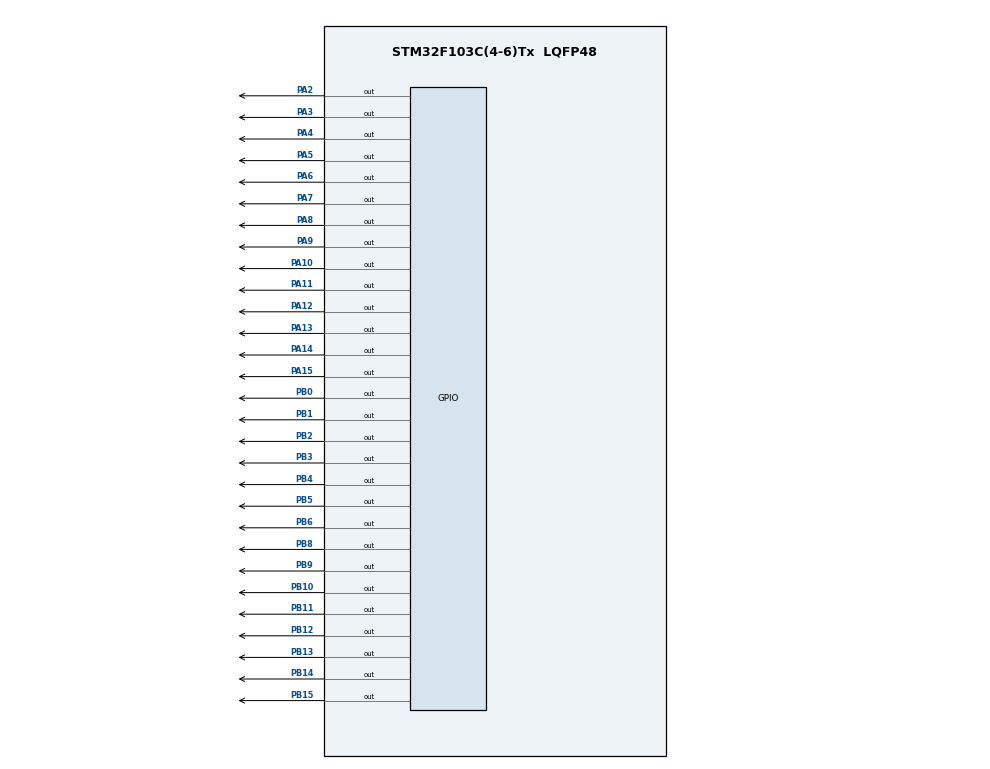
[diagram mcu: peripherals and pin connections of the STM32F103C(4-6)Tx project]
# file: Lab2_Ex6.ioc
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Mcu.Family=STM32F1
Mcu.Name=STM32F103C(4-6)Tx
Mcu.Package=LQFP48
NVIC.PriorityGroup=NVIC_PRIORITYGROUP_4
NVIC.TIM2_IRQn=true\:0\:0\:false\:false\:true\:true\:true
PA10.Signal=GPIO_Output
PA11.Signal=GPIO_Output
PA12.Signal=GPIO_Output
PA13.Signal=GPIO_Output
PA14.Signal=GPIO_Output
PA15.Signal=GPIO_Output
PA2.Signal=GPIO_Output
PA3.Signal=GPIO_Output
PA4.Signal=GPIO_Output
PA5.Signal=GPIO_Output
PA6.Signal=GPIO_Output
PA7.Signal=GPIO_Output
PA8.Signal=GPIO_Output
PA9.Signal=GPIO_Output
PB0.Signal=GPIO_Output
PB1.Signal=GPIO_Output
PB10.Signal=GPIO_Output
PB11.Signal=GPIO_Output
PB12.Signal=GPIO_Output
PB13.Signal=GPIO_Output
PB14.Signal=GPIO_Output
PB15.Signal=GPIO_Output
PB2.Signal=GPIO_Output
PB3.Signal=GPIO_Output
PB4.Signal=GPIO_Output
PB5.Signal=GPIO_Output
PB6.Signal=GPIO_Output
PB8.Signal=GPIO_Output
PB9.Signal=GPIO_Output
PD0-OSC_IN.Mode=HSE-External-Oscillator
PD0-OSC_IN.Signal=RCC_OSC_IN
PD1-OSC_OUT.Mode=HSE-External-Oscillator
PD1-OSC_OUT.Signal=RCC_OSC_OUT
ProjectManager.HeapSize=0x200
ProjectManager.StackSize=0x400
ProjectManager.TargetToolchain=STM32CubeIDE
RCC.APB1Freq_Value=8000000
RCC.APB2Freq_Value=8000000
TIM2.Period=9
TIM2.Prescaler=7999
VP_SYS_VS_ND.Mode=No_Debug
VP_TIM2_VS_ClockSourceINT.Mode=Internal
board=custom

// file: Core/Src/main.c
/* USER CODE BEGIN Header */
/**
  ******************************************************************************
  * @file           : main.c
  * @brief          : Main program body
  ******************************************************************************
  * @attention
  *
  * <h2><center>&copy; Copyright (c) 2021 STMicroelectronics.
  * All rights reserved.</center></h2>
  *
  * This software component is licensed by ST under BSD 3-Clause license,
  * the "License"; You may not use this file except in compliance with the
  * License. You may obtain a copy of the License at:
  *                        opensource.org/licenses/BSD-3-Clause
  *
  ******************************************************************************
  */
/* USER CODE END Header */
#include "main.h"

TIM_HandleTypeDef htim2;

void SystemClock_Config(void);
static void MX_GPIO_Init(void);
static void MX_TIM2_Init(void);
void update7SEG(int index);
void updateClockBuffer();

/* USER CODE BEGIN 0 */
uint8_t segmentNumber[10] = {
		0x40,  // 0
		0x79,  // 1
		0x24,  // 2
		0x30,  // 3
		0x19,  // 4
		0x12,  // 5
		0x02,  // 6
		0x78,  // 7
		0x00,  // 8
		0x10   // 9
};

void display7SEG(uint8_t number){
	HAL_GPIO_WritePin(GPIOB, GPIO_PIN_0, ((number>>0)&0x01));
	HAL_GPIO_WritePin(GPIOB, GPIO_PIN_1, ((number>>1)&0x01));
	HAL_GPIO_WritePin(GPIOB, GPIO_PIN_2, ((number>>2)&0x01));
	HAL_GPIO_WritePin(GPIOB, GPIO_PIN_3, ((number>>3)&0x01));
	HAL_GPIO_WritePin(GPIOB, GPIO_PIN_4, ((number>>4)&0x01));
	HAL_GPIO_WritePin(GPIOB, GPIO_PIN_5, ((number>>5)&0x01));
	HAL_GPIO_WritePin(GPIOB, GPIO_PIN_6, ((number>>6)&0x01));
}

// uint8_t number to display A character
uint8_t matrixLedCol[8] = {
		0xE7,0xC3,0x99,0x99,0x81,0x81,0x99,0x99
};
// storage uint8_t number
uint8_t matrix_led_buffer[8] = {
		0xE7,0xC3,0x99,0x99,0x81,0x81,0x99,0x99
};
void displayMatrixLed(uint8_t numberCol) {
	//display col from row selected
	HAL_GPIO_WritePin(GPIOA, GPIO_PIN_2, !(numberCol&0x80));
	numberCol = numberCol << 1;
	HAL_GPIO_WritePin(GPIOA, GPIO_PIN_3, !(numberCol&0x80));
	numberCol = numberCol << 1;
	HAL_GPIO_WritePin(GPIOA, GPIO_PIN_10, !(numberCol&0x80));
	numberCol = numberCol << 1;
	HAL_GPIO_WritePin(GPIOA, GPIO_PIN_11, !(numberCol&0x80));
	numberCol = numberCol << 1;
	HAL_GPIO_WritePin(GPIOA, GPIO_PIN_12, !(numberCol&0x80));
	numberCol = numberCol << 1;
	HAL_GPIO_WritePin(GPIOA, GPIO_PIN_13, !(numberCol&0x80));
	numberCol = numberCol << 1;
	HAL_GPIO_WritePin(GPIOA, GPIO_PIN_14, !(numberCol&0x80));
	numberCol = numberCol << 1;
	HAL_GPIO_WritePin(GPIOA, GPIO_PIN_15, !(numberCol&0x80));
}
void updateLEDMatrix (int index) {
	switch ( index ) {
		case 0:
			displayMatrixLed(matrixLedCol[0]);
			HAL_GPIO_WritePin(GPIOB, GPIO_PIN_8, 0);
			HAL_GPIO_WritePin(GPIOB, GPIO_PIN_10|GPIO_PIN_11|GPIO_PIN_12|GPIO_PIN_13|
					 	 	 	 	 GPIO_PIN_14|GPIO_PIN_15|GPIO_PIN_9, 1);
			break ;
		case 1:
			displayMatrixLed(matrixLedCol[1]);
			HAL_GPIO_WritePin(GPIOB, GPIO_PIN_9, 0);
			HAL_GPIO_WritePin(GPIOB, GPIO_PIN_10|GPIO_PIN_11|GPIO_PIN_12|GPIO_PIN_13|
								 	 GPIO_PIN_14|GPIO_PIN_15|GPIO_PIN_8, 1);
			break ;
		case 2:
			displayMatrixLed(matrixLedCol[2]);
			HAL_GPIO_WritePin(GPIOB, GPIO_PIN_10, 0);
			HAL_GPIO_WritePin(GPIOB, GPIO_PIN_11|GPIO_PIN_12|GPIO_PIN_13|
								 	 GPIO_PIN_14|GPIO_PIN_15|GPIO_PIN_8|GPIO_PIN_9, 1);
			break ;
		case 3:
			displayMatrixLed(matrixLedCol[3]);
			HAL_GPIO_WritePin(GPIOB, GPIO_PIN_11, 0);
			HAL_GPIO_WritePin(GPIOB, GPIO_PIN_10|GPIO_PIN_12|GPIO_PIN_13|
								 	 GPIO_PIN_14|GPIO_PIN_15|GPIO_PIN_8|GPIO_PIN_9, 1);
			break ;
		case 4:
			displayMatrixLed(matrixLedCol[4]);
			HAL_GPIO_WritePin(GPIOB, GPIO_PIN_12, 0);
			HAL_GPIO_WritePin(GPIOB, GPIO_PIN_10|GPIO_PIN_11|GPIO_PIN_13|
								 	 GPIO_PIN_14|GPIO_PIN_15|GPIO_PIN_8|GPIO_PIN_9, 1);
			break ;
		case 5:
			displayMatrixLed(matrixLedCol[5]);
			HAL_GPIO_WritePin(GPIOB, GPIO_PIN_13, 0);
			HAL_GPIO_WritePin(GPIOB, GPIO_PIN_10|GPIO_PIN_11|GPIO_PIN_12|
								 	 GPIO_PIN_14|GPIO_PIN_15|GPIO_PIN_8|GPIO_PIN_9, 1);
			break ;
		case 6:
			displayMatrixLed(matrixLedCol[6]);
			HAL_GPIO_WritePin(GPIOB, GPIO_PIN_14, 0);
			HAL_GPIO_WritePin(GPIOB, GPIO_PIN_10|GPIO_PIN_11|GPIO_PIN_12|GPIO_PIN_13|
								 	 GPIO_PIN_15|GPIO_PIN_8|GPIO_PIN_9, 1);
			break ;
		case 7:
			displayMatrixLed(matrixLedCol[7]);
			HAL_GPIO_WritePin(GPIOB, GPIO_PIN_15, 0);
			HAL_GPIO_WritePin(GPIOB, GPIO_PIN_10|GPIO_PIN_11|GPIO_PIN_12|GPIO_PIN_13|
								 	 GPIO_PIN_14|GPIO_PIN_8|GPIO_PIN_9, 1);
			break ;
		default :
			break ;
	}
}
void MatrixAnimation(int bit) {
	matrixLedCol[0] = (matrix_led_buffer[0]>>bit)|(matrix_led_buffer[0]<<(8-bit));
	matrixLedCol[1] = (matrix_led_buffer[1]>>bit)|(matrix_led_buffer[1]<<(8-bit));
	matrixLedCol[2] = (matrix_led_buffer[2]>>bit)|(matrix_led_buffer[2]<<(8-bit));
	matrixLedCol[3] = (matrix_led_buffer[3]>>bit)|(matrix_led_buffer[3]<<(8-bit));
	matrixLedCol[4] = (matrix_led_buffer[4]>>bit)|(matrix_led_buffer[4]<<(8-bit));
	matrixLedCol[5] = (matrix_led_buffer[5]>>bit)|(matrix_led_buffer[5]<<(8-bit));
	matrixLedCol[6] = (matrix_led_buffer[6]>>bit)|(matrix_led_buffer[6]<<(8-bit));
	matrixLedCol[7] = (matrix_led_buffer[7]>>bit)|(matrix_led_buffer[7]<<(8-bit));
}
int timer0_counter = 0;
int timer0_flag = 0;
int timer1_counter = 0;
int timer1_flag = 0;
int timer2_counter = 0;
int timer2_flag = 0;
int TIMER_CYCLE = 10;
const int MAX_LED = 4;
int index_led = 0;
int index_led_matrix = 0;
int led_buffer [4] = {1 , 2 , 3 , 4};
int shirt_bit = 0;
//timer for led
void setTimer0(int duration) {
	timer0_counter = duration / TIMER_CYCLE;
	timer0_flag = 0;
}
void timer0_run() {
	if( timer0_counter > 0) {
		timer0_counter--;
		if( timer0_counter == 0) timer0_flag = 1;
	}
}
//timer for led7seg
void setTimer1(int duration) {
	timer1_counter = duration / TIMER_CYCLE;
	timer1_flag = 0;
}
void timer1_run() {
	if( timer1_counter > 0) {
		timer1_counter--;
		if( timer1_counter == 0) timer1_flag = 1;
	}
}
//timer for matrixled
void setTimer2(int duration) {
	timer2_counter = duration / TIMER_CYCLE;
	timer2_flag = 0;
}
void timer2_run() {
	if( timer2_counter > 0) {
		timer2_counter--;
		if( timer2_counter == 0) timer2_flag = 1;
	}
}
int hour = 15 , minute = 8 , second = 50;
/* USER CODE END 0 */

int main(void)
{

  /* MCU Configuration--------------------------------------------------------*/

  /* Reset of all peripherals, Initializes the Flash interface and the Systick. */
  HAL_Init();

  /* Configure the system clock */
  SystemClock_Config();

  /* Initialize all configured peripherals */
  MX_GPIO_Init();
  MX_TIM2_Init();
  /* USER CODE BEGIN 2 */
  HAL_TIM_Base_Start_IT(&htim2);
  setTimer0(1000); //set timer led 1s
  setTimer1(250); //set timer seg7led 250ms
  setTimer2(100); //set timer MatrixLed 100ms
  /* USER CODE END 2 */

  /* Infinite loop */
  while (1)
  {
	  if(timer0_flag == 1) {
		  setTimer0(1000);
		  second++;
		  if(second >= 60){
			  second = 0;
			  minute ++;
		  }
		  if(minute >= 60){
			  minute = 0;
			  hour ++;
		  }
		  if(hour >= 24){
			  hour = 0;
		  }
		  HAL_GPIO_TogglePin(GPIOA , GPIO_PIN_4);
		  HAL_GPIO_TogglePin(GPIOA , GPIO_PIN_5);
		  updateClockBuffer();
	  }
	  if(timer1_flag == 1) {
		  setTimer1(250);
		  	    switch (index_led){
		          case 0:
		        	  HAL_GPIO_WritePin(GPIOA, GPIO_PIN_6,0);
		        	  HAL_GPIO_WritePin(GPIOA, GPIO_PIN_7,1);
		        	  HAL_GPIO_WritePin(GPIOA, GPIO_PIN_8,1);
		        	  HAL_GPIO_WritePin(GPIOA, GPIO_PIN_9,1);
		        	  update7SEG(index_led);
		              index_led = 1;
		              break;
		          case 1:
		        	  HAL_GPIO_WritePin(GPIOA, GPIO_PIN_6,1);
		        	  HAL_GPIO_WritePin(GPIOA, GPIO_PIN_7,0);
		        	  HAL_GPIO_WritePin(GPIOA, GPIO_PIN_8,1);
		        	  HAL_GPIO_WritePin(GPIOA, GPIO_PIN_9,1);
		        	  update7SEG(index_led);
		        	  index_led = 2;
		              break;
		          case 2:
		        	  HAL_GPIO_WritePin(GPIOA, GPIO_PIN_6,1);
		        	  HAL_GPIO_WritePin(GPIOA, GPIO_PIN_7,1);
		        	  HAL_GPIO_WritePin(GPIOA, GPIO_PIN_8,0);
		        	  HAL_GPIO_WritePin(GPIOA, GPIO_PIN_9,1);
		              update7SEG(index_led);
		              index_led = 3;
		              break;
		          case 3:
		        	  HAL_GPIO_WritePin(GPIOA, GPIO_PIN_6,1);
		        	  HAL_GPIO_WritePin(GPIOA, GPIO_PIN_7,1);
		        	  HAL_GPIO_WritePin(GPIOA, GPIO_PIN_8,1);
		        	  HAL_GPIO_WritePin(GPIOA, GPIO_PIN_9,0);
		              update7SEG(index_led);
		              index_led = 0;
		              break;
		          }
	  }
	  if(timer2_flag == 1) {
		  setTimer2(100);
		  MatrixAnimation(shirt_bit);
		  updateLEDMatrix(index_led_matrix);
		  index_led_matrix++;
		  if(index_led_matrix > 7) {
			  index_led_matrix = 0;
			  shirt_bit++;
			  if(shirt_bit > 7) shirt_bit = 0;
		  }
	  }
  }
}

void SystemClock_Config(void)
{
  RCC_OscInitTypeDef RCC_OscInitStruct = {0};
  RCC_ClkInitTypeDef RCC_ClkInitStruct = {0};

  /** Initializes the RCC Oscillators according to the specified parameters
  * in the RCC_OscInitTypeDef structure.
  */
  RCC_OscInitStruct.OscillatorType = RCC_OSCILLATORTYPE_HSI;
  RCC_OscInitStruct.HSIState = RCC_HSI_ON;
  RCC_OscInitStruct.HSICalibrationValue = RCC_HSICALIBRATION_DEFAULT;
  RCC_OscInitStruct.PLL.PLLState = RCC_PLL_NONE;
  if (HAL_RCC_OscConfig(&RCC_OscInitStruct) != HAL_OK)
  {
    Error_Handler();
  }
  /** Initializes the CPU, AHB and APB buses clocks
  */
  RCC_ClkInitStruct.ClockType = RCC_CLOCKTYPE_HCLK|RCC_CLOCKTYPE_SYSCLK
                              |RCC_CLOCKTYPE_PCLK1|RCC_CLOCKTYPE_PCLK2;
  RCC_ClkInitStruct.SYSCLKSource = RCC_SYSCLKSOURCE_HSI;
  RCC_ClkInitStruct.AHBCLKDivider = RCC_SYSCLK_DIV1;
  RCC_ClkInitStruct.APB1CLKDivider = RCC_HCLK_DIV1;
  RCC_ClkInitStruct.APB2CLKDivider = RCC_HCLK_DIV1;

  if (HAL_RCC_ClockConfig(&RCC_ClkInitStruct, FLASH_LATENCY_0) != HAL_OK)
  {
    Error_Handler();
  }
}

static void MX_TIM2_Init(void)
{

  TIM_ClockConfigTypeDef sClockSourceConfig = {0};
  TIM_MasterConfigTypeDef sMasterConfig = {0};

  htim2.Instance = TIM2;
  htim2.Init.Prescaler = 7999;
  htim2.Init.CounterMode = TIM_COUNTERMODE_UP;
  htim2.Init.Period = 9;
  htim2.Init.ClockDivision = TIM_CLOCKDIVISION_DIV1;
  htim2.Init.AutoReloadPreload = TIM_AUTORELOAD_PRELOAD_DISABLE;
  if (HAL_TIM_Base_Init(&htim2) != HAL_OK)
  {
    Error_Handler();
  }
  sClockSourceConfig.ClockSource = TIM_CLOCKSOURCE_INTERNAL;
  if (HAL_TIM_ConfigClockSource(&htim2, &sClockSourceConfig) != HAL_OK)
  {
    Error_Handler();
  }
  sMasterConfig.MasterOutputTrigger = TIM_TRGO_RESET;
  sMasterConfig.MasterSlaveMode = TIM_MASTERSLAVEMODE_DISABLE;
  if (HAL_TIMEx_MasterConfigSynchronization(&htim2, &sMasterConfig) != HAL_OK)
  {
    Error_Handler();
  }

}

static void MX_GPIO_Init(void)
{
  GPIO_InitTypeDef GPIO_InitStruct = {0};

  /* GPIO Ports Clock Enable */
  __HAL_RCC_GPIOD_CLK_ENABLE();
  __HAL_RCC_GPIOA_CLK_ENABLE();
  __HAL_RCC_GPIOB_CLK_ENABLE();

  /*Configure GPIO pin Output Level */
  HAL_GPIO_WritePin(GPIOA, GPIO_PIN_2|GPIO_PIN_3|GPIO_PIN_4|GPIO_PIN_5
                          |GPIO_PIN_6|GPIO_PIN_7|GPIO_PIN_8|GPIO_PIN_9
                          |GPIO_PIN_10|GPIO_PIN_11|GPIO_PIN_12|GPIO_PIN_13
                          |GPIO_PIN_14|GPIO_PIN_15, GPIO_PIN_RESET);

  /*Configure GPIO pin Output Level */
  HAL_GPIO_WritePin(GPIOB, GPIO_PIN_0|GPIO_PIN_1|GPIO_PIN_2|GPIO_PIN_10
                          |GPIO_PIN_11|GPIO_PIN_12|GPIO_PIN_13|GPIO_PIN_14
                          |GPIO_PIN_15|GPIO_PIN_3|GPIO_PIN_4|GPIO_PIN_5
                          |GPIO_PIN_6|GPIO_PIN_8|GPIO_PIN_9, GPIO_PIN_RESET);

  /*Configure GPIO pins : PA2 PA3 PA4 PA5
                           PA6 PA7 PA8 PA9
                           PA10 PA11 PA12 PA13
                           PA14 PA15 */
  GPIO_InitStruct.Pin = GPIO_PIN_2|GPIO_PIN_3|GPIO_PIN_4|GPIO_PIN_5
                          |GPIO_PIN_6|GPIO_PIN_7|GPIO_PIN_8|GPIO_PIN_9
                          |GPIO_PIN_10|GPIO_PIN_11|GPIO_PIN_12|GPIO_PIN_13
                          |GPIO_PIN_14|GPIO_PIN_15;
  GPIO_InitStruct.Mode = GPIO_MODE_OUTPUT_PP;
  GPIO_InitStruct.Pull = GPIO_NOPULL;
  GPIO_InitStruct.Speed = GPIO_SPEED_FREQ_LOW;
  HAL_GPIO_Init(GPIOA, &GPIO_InitStruct);

  /*Configure GPIO pins : PB0 PB1 PB2 PB10
                           PB11 PB12 PB13 PB14
                           PB15 PB3 PB4 PB5
                           PB6 PB8 PB9 */
  GPIO_InitStruct.Pin = GPIO_PIN_0|GPIO_PIN_1|GPIO_PIN_2|GPIO_PIN_10
                          |GPIO_PIN_11|GPIO_PIN_12|GPIO_PIN_13|GPIO_PIN_14
                          |GPIO_PIN_15|GPIO_PIN_3|GPIO_PIN_4|GPIO_PIN_5
                          |GPIO_PIN_6|GPIO_PIN_8|GPIO_PIN_9;
  GPIO_InitStruct.Mode = GPIO_MODE_OUTPUT_PP;
  GPIO_InitStruct.Pull = GPIO_NOPULL;
  GPIO_InitStruct.Speed = GPIO_SPEED_FREQ_LOW;
  HAL_GPIO_Init(GPIOB, &GPIO_InitStruct);

}

/* USER CODE BEGIN 4 */
void HAL_TIM_PeriodElapsedCallback (TIM_HandleTypeDef * htim) {
	timer0_run();
	timer1_run();
	timer2_run();
}
void update7SEG (int index) {
	switch (index) {
		case 0:
			// Display the first 7 SEG with led_buffer [0]
			display7SEG(segmentNumber[led_buffer[0]]);
			break;
		case 1:
			// Display the second 7 SEG with led_buffer [1]
			display7SEG(segmentNumber[led_buffer[1]]);
			break;
		case 2:
			// Display the third 7 SEG with led_buffer [2]
			display7SEG(segmentNumber[led_buffer[2]]);
			break;
		case 3:
			// Display the forth 7 SEG with led_buffer [3]
			display7SEG(segmentNumber[led_buffer[3]]);
			break;
		default :
			break;
	}
}

void updateClockBuffer() {
	led_buffer[0] = hour / 10;
	led_buffer[1] = hour % 10;
	led_buffer[2] = minute / 10;
	led_buffer[3] = minute % 10;
}
/* USER CODE END 4 */

void Error_Handler(void)
{
  __disable_irq();
  while (1)
  {
  }
}

/************************ (C) COPYRIGHT STMicroelectronics *****END OF FILE****/
